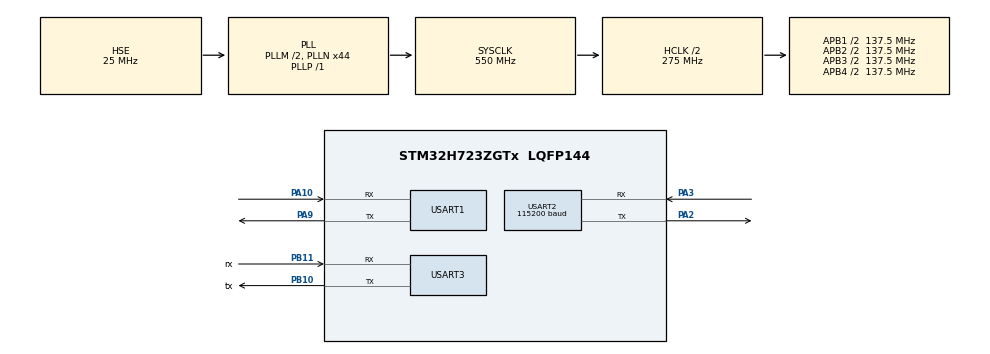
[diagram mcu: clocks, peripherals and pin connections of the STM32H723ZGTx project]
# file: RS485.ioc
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CORTEX_M7.default_mode_Activation=1
Mcu.Family=STM32H7
Mcu.Name=STM32H723ZGTx
Mcu.Package=LQFP144
NVIC.PriorityGroup=NVIC_PRIORITYGROUP_4
NVIC.TIM3_IRQn=true\:0\:0\:false\:false\:true\:true\:true\:true
NVIC.USART1_IRQn=true\:0\:0\:false\:false\:true\:true\:true\:true
NVIC.USART2_IRQn=true\:0\:0\:false\:false\:true\:true\:true\:true
NVIC.USART3_IRQn=true\:0\:0\:false\:false\:true\:true\:true\:true
PA10.GPIO_PuPd=GPIO_PULLUP
PA10.Mode=Asynchronous
PA10.Signal=USART1_RX
PA2.GPIO_Speed=GPIO_SPEED_FREQ_VERY_HIGH
PA2.Mode=Asynchronous
PA2.Signal=USART2_TX
PA3.GPIO_PuPd=GPIO_PULLUP
PA3.GPIO_Speed=GPIO_SPEED_FREQ_VERY_HIGH
PA3.Mode=Asynchronous
PA3.Signal=USART2_RX
PA9.GPIO_Speed=GPIO_SPEED_FREQ_LOW
PA9.Mode=Asynchronous
PA9.Signal=USART1_TX
PB10.GPIO_Label=tx
PB10.GPIO_Speed=GPIO_SPEED_FREQ_HIGH
PB10.Mode=Asynchronous
PB10.Signal=USART3_TX
PB11.GPIO_Label=rx
PB11.GPIO_PuPd=GPIO_PULLUP
PB11.GPIO_Speed=GPIO_SPEED_FREQ_HIGH
PB11.Mode=Asynchronous
PB11.Signal=USART3_RX
PH0-OSC_IN.Mode=HSE-External-Oscillator
PH0-OSC_IN.Signal=RCC_OSC_IN
PH1-OSC_OUT.Mode=HSE-External-Oscillator
PH1-OSC_OUT.Signal=RCC_OSC_OUT
ProjectManager.HeapSize=0x200
ProjectManager.StackSize=0x400
ProjectManager.TargetToolchain=MDK-ARM V5.32
RCC.ADCFreq_Value=50390625
RCC.APB1Freq_Value=137500000
RCC.APB2Freq_Value=137500000
RCC.APB3Freq_Value=137500000
RCC.APB4Freq_Value=137500000
RCC.CortexFreq_Value=550000000
RCC.D1PPRE=RCC_APB3_DIV2
RCC.D2PPRE1=RCC_APB1_DIV2
RCC.D2PPRE2=RCC_APB2_DIV2
RCC.D3PPRE=RCC_APB4_DIV2
RCC.DIVM1=2
RCC.DIVN1=44
RCC.DIVP1=1
RCC.HCLKFreq_Value=275000000
RCC.HPRE=RCC_HCLK_DIV2
RCC.PLLFRACN=0
RCC.PLLSourceVirtual=RCC_PLLSOURCE_HSE
RCC.SYSCLKFreq_VALUE=550000000
RCC.SYSCLKSource=RCC_SYSCLKSOURCE_PLLCLK
RCC.USBFreq_Value=275000000
TIM3.Period=1000-1
TIM3.Prescaler=275-1
USART1.VirtualMode-Asynchronous=VM_ASYNC
USART2.BaudRate=115200
USART2.VirtualMode-Asynchronous=VM_ASYNC
USART3.VirtualMode-Asynchronous=VM_ASYNC
VP_MEMORYMAP_VS_MEMORYMAP.Mode=CurAppReg
VP_TIM3_VS_ClockSourceINT.Mode=Internal
board=custom

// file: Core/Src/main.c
/* USER CODE BEGIN Header */
/**
  ******************************************************************************
  * @file           : main.c
  * @brief          : Main program body
  ******************************************************************************
  * @attention
  *
  * Copyright (c) 2025 STMicroelectronics.
  * All rights reserved.
  *
  * This software is licensed under terms that can be found in the LICENSE file
  * in the root directory of this software component.
  * If no LICENSE file comes with this software, it is provided AS-IS.
  *
  ******************************************************************************
  */
/* USER CODE END Header */
#include "main.h"

/* USER CODE BEGIN Includes */
#include "wit_c_sdk.h"
#include "usart6.h"
/* USER CODE END Includes */

/* USER CODE BEGIN PTD */
#define ID  0x01
#define POSITION_REG 0x80
#define TORQUE_REG 0x81
#define PACKET_SIZE 20

#define ACC_UPDATE		0x01
#define GYRO_UPDATE		0x02
#define ANGLE_UPDATE	0x04
#define MAG_UPDATE		0x08
#define READ_UPDATE		0x80
/*typedef struct {
    short x;
    short y;
    short z;
} GyroData;

GyroData gyro_data;
uint8_t mpu_data_ready = 0;
uint32_t mpu_last_update = 0;
char uart_buf[64];  // 用于存储格式化后的字符串*/

/* USER CODE END PTD */

/* USER CODE BEGIN PD */

#define MODBUS_READ_REG 0x03
#define MODBUS_WRITE_SINGLE_REG 0x06
#define MODBUS_WRITE_MULTI_REG 0x10
#define MAX_ANGLE 360.0f
#define RESOLUTION 4096
volatile uint32_t sys_tick = 0;
uint8_t flag_10ms = 0;
uint8_t flag_100ms = 0;
uint16_t flag_1000ms = 0;
uint32_t last_tick = 0;
uint16_t target_angle = 0;
uint16_t current_angle = 0;

uint8_t usart_read_byte;

uint8_t usart1_tx_byte;
uint8_t usart1_tx_busy = 0;

#pragma pack(push, 1)
typedef struct {
    uint8_t header;     // 包头 0xAA
    float pitch;        // 俯仰�?
    float roll;         // 横滚�?
    float yaw;          // 偏航�?
    int16_t gx;         // �?螺仪X�?
    int16_t gy;         // �?螺仪Y�?
    int16_t gz;         // �?螺仪Z�?
    uint8_t footer;     // 包尾 0x55
} IMU_DataPacket;
#pragma pack(pop)

static volatile char s_cDataUpdate = 0, s_cCmd = 0xff;
const uint32_t c_uiBaud[10] = {0, 4800, 9600, 19200, 38400, 57600, 115200, 230400, 460800, 921600};
uint8_t rxBuffer[PACKET_SIZE];
uint8_t rxIndex = 0;
uint8_t packetReady = 0;
IMU_DataPacket received_data;

#define PRINT_BUFFER_SIZE 128
char print_buffer[PRINT_BUFFER_SIZE];
uint8_t print_ready = 0;
/* USER CODE END PD */

TIM_HandleTypeDef htim3;

UART_HandleTypeDef huart1;
UART_HandleTypeDef huart2;
UART_HandleTypeDef huart3;

/* USER CODE BEGIN PV */
/* USER CODE BEGIN PV */

typedef enum {
    STATE_IDLE,
    STATE_SEND_CMD1,
    STATE_WAIT_CMD1,
    STATE_SEND_CMD2,
    STATE_WAIT_CMD2,
	STATE_SEND_CMD3,
	STATE_WAIT_CMD3,
	STATE_SEND_CMD4,
	STATE_WAIT_CMD4

} ServoControlState;

ServoControlState servo_state = STATE_SEND_CMD1;
uint32_t state_timer = 0;
/* USER CODE END PV */

void SystemClock_Config(void);
static void MPU_Config(void);
static void MX_GPIO_Init(void);
static void MX_USART2_UART_Init(void);
static void MX_TIM3_Init(void);
static void MX_USART1_UART_Init(void);
static void MX_USART3_UART_Init(void);
/* USER CODE BEGIN PFP */
uint16_t Modbus_CRC16(uint8_t *data,uint16_t length);
void Set_Servo_Angle(UART_HandleTypeDef *huart, uint8_t servo_id, uint16_t angle_deg);
void Set_Servo_Speed(UART_HandleTypeDef *huart,uint8_t servo_id, int16_t speed_deg);
/* USER CODE END PFP */

/* USER CODE BEGIN 0 */

static void CmdProcess(void);
void CopeCmdData(unsigned char ucData);

static void ShowHelp(void);

static void AutoScanSensor(void);

static void SensorUartSend(uint8_t *p_data, uint32_t uiSize);
static void Delayms(uint16_t ucMs);

static void SensorDataUpdata(uint32_t uiReg, uint32_t uiRegNum);
void USART6_IRQHandler(void);

void Uart6Send(unsigned char *p_data, unsigned int uiSize);
void HAL_UART_TxCpltCallback(UART_HandleTypeDef *huart);
void HAL_UART_RxCpltCallback(UART_HandleTypeDef *huart);
uint16_t Modbus_CRC16(uint8_t *data,uint16_t length);
void Enable_Servo_Torque(UART_HandleTypeDef *huart, uint8_t servo_id, uint16_t enable);
void Set_Servo_Angle(UART_HandleTypeDef *huart, uint8_t servo_id, uint16_t angle_deg);
void Set_Servo_Speed(UART_HandleTypeDef *huart,uint8_t servo_id, int16_t speed_deg);
void Update_Servo_State(uint16_t x1,uint16_t x2,uint16_t x3,uint16_t x4);
void MoveToAngle   (uint16_t x1,uint16_t x2,uint16_t x3,uint16_t x4);
void HAL_TIM_PeriodElapsedCallback(TIM_HandleTypeDef *htim){
	if(htim->Instance == TIM3){
		static uint8_t counter_10ms = 0;
		static uint8_t counter_100ms = 0;
		static uint16_t counter_1000ms = 0;
		sys_tick++;
		if(++counter_10ms >= 10){
		flag_10ms = 1;
		counter_10ms = 0;
		}
		if(++counter_100ms >= 100){
		flag_100ms = 1;
		counter_100ms = 0;
		}
		if(++counter_1000ms >= 1000){
		flag_1000ms = 1;
		counter_1000ms = 0;
		}
	}
}

#ifdef __GNUC__
#define PUTCHAR_PROTOTYPE int __io_putchar(int ch)
#else
#define PUTCHAR_PROTOTYPE int fputc(int ch, FILE *f)
#endif

PUTCHAR_PROTOTYPE
{
    HAL_UART_Transmit(&huart1, (uint8_t *)&ch, 1, HAL_MAX_DELAY);
    return ch;
}

int _write(int file, char *ptr, int len)
{
    HAL_UART_Transmit(&huart1, (uint8_t *)ptr, len, HAL_MAX_DELAY);
    return len;
}
/* USER CODE END 0 */

int main(void)
{

  /* USER CODE BEGIN 1 */
    /*short gx, gy, gz;
	uint32_t last_mpu_read = HAL_GetTick();
    uint32_t last_mpu_print = HAL_GetTick();
	char uart_buf[64];*/
	float fAcc[3], fGyro[3], fAngle[3];
	int i;
	Usart6Init(9600);
  /* USER CODE END 1 */

  /* MPU Configuration--------------------------------------------------------*/
  MPU_Config();

  /* MCU Configuration--------------------------------------------------------*/

  /* Reset of all peripherals, Initializes the Flash interface and the Systick. */
  HAL_Init();

  /* Configure the system clock */
  SystemClock_Config();

  /* Initialize all configured peripherals */
  MX_GPIO_Init();
  MX_USART2_UART_Init();
  MX_TIM3_Init();
  MX_USART1_UART_Init();
  MX_USART3_UART_Init();
  /* USER CODE BEGIN 2 */
  HAL_TIM_Base_Start_IT(&htim3);
  HAL_UART_Receive_IT(&huart3, &rxBuffer[0], 1);

  Enable_Servo_Torque(&huart2, 0x03, 1);
  //HAL_Delay(100);
    //current_angle = 90;
    //target_angle = 270;
  WitInit(WIT_PROTOCOL_NORMAL, 0x50);
  WitSerialWriteRegister(SensorUartSend);
  WitRegisterCallBack(SensorDataUpdata);
  WitDelayMsRegister(Delayms);
  AutoScanSensor();
	//servo_state = STATE_SEND_CMD1;
  /* USER CODE END 2 */

  /* Infinite loop */
  while (1)
  {

    /* USER CODE BEGIN 3 */
	  //CmdProcess();
	CmdProcess();
	for(i = 0; i < 3; i++)
			   {
			    	fAcc[i] = sReg[AX+i] / 32768.0f * 16.0f;
				    fGyro[i] = sReg[GX+i] / 32768.0f * 2000.0f;
			   	  fAngle[i] = sReg[Roll+i] / 32768.0f * 180.0f;
			   }
			  /* if(s_cDataUpdate & ACC_UPDATE)
			   {
				    printf("acc:%.3f %.3f %.3f\r\n", fAcc[0], fAcc[1], fAcc[2]);
				    s_cDataUpdate &= ~ACC_UPDATE;
			   }
			   if(s_cDataUpdate & GYRO_UPDATE)
			   {
			   	printf("gyro:%.3f %.3f %.3f\r\n", fGyro[0], fGyro[1], fGyro[2]);
			   	s_cDataUpdate &= ~GYRO_UPDATE;
			   }*/
			   if(s_cDataUpdate & ANGLE_UPDATE)
			   {
			   	printf("angle:%.3f %.3f %.3f\r\n", fAngle[0], fAngle[1], fAngle[2]);
			   	s_cDataUpdate &= ~ANGLE_UPDATE;
			   }
			  /* if(s_cDataUpdate & MAG_UPDATE)
			   {
			   	printf("mag:%d %d %d\r\n", sReg[HX], sReg[HY], sReg[HZ]);
			   	s_cDataUpdate &= ~MAG_UPDATE;
			   }*/

	  //Set_Servo_Angle(&huart2,0x02,90);

	 /* if (flag_10ms) {
            flag_10ms = 0;

            if (current_angle != target_angle) {
                if (current_angle < target_angle) {
                    current_angle++;
                } else {
                    current_angle--;
                }

                Set_Servo_Angle(&huart2, 0x02, current_angle);
            }
        }*/

	  //Set_Servo_Angle(&huart2, 0x03, 90);
	  //HAL_Delay(100);
      /*if (packetReady) {
        packetReady = 0;

        // 提取并处理传感器数据
        float pitch = received_data.pitch;
        float roll = received_data.roll;
        float yaw = received_data.yaw;
        int16_t gx = received_data.gx;
        int16_t gy = received_data.gy;
        int16_t gz = received_data.gz;
        int len = snprintf(print_buffer,PRINT_BUFFER_SIZE, "P:%.2f\r\n" , pitch);

	    if(!usart1_tx_busy){
			usart1_tx_busy = 1;
			HAL_UART_Transmit_IT(&huart1, (uint8_t*)print_buffer, len);

		uint16_t pitch_putout = (uint16_t)((pitch*2)+180);
	    if(flag_1000ms){
		  Set_Servo_Angle(&huart2, 0x03, pitch_putout);

		HAL_Delay(1000);
		}
	  }

		int len = snprintf(print_buffer,PRINT_BUFFER_SIZE, "P:%.2f  R:%.2f Y:%.2f\r\nGX:%d GY:%d GZ:%d\r\n\r\n",
			  received_data.pitch,
		      received_data.roll,
		      received_data.yaw,
		      received_data.gx,
		      received_data.gy,
		      received_data.gz);

		print_ready = 1;}
	    if(print_ready && !usart1_tx_busy){
			usart1_tx_busy = 1;
			HAL_UART_Transmit_IT(&huart1, (uint8_t*)print_buffer, strlen(print_buffer));
		}*char msg[64];
		  int len = sprintf(msg, "P:%.2f  R:%.2f Y:%.2f GX:%d GY:%d GZ:%d\r\n",
			  pitch,
		      roll,
		      yaw,
		      gx,
		      gy,
		      gz);
        HAL_UART_Transmit(&huart1,(uint8_t*)msg,len,10);
	}*/
}
  /* USER CODE END 3 */
}

void SystemClock_Config(void)
{
  RCC_OscInitTypeDef RCC_OscInitStruct = {0};
  RCC_ClkInitTypeDef RCC_ClkInitStruct = {0};

  /** Supply configuration update enable
  */
  HAL_PWREx_ConfigSupply(PWR_LDO_SUPPLY);

  /** Configure the main internal regulator output voltage
  */
  __HAL_PWR_VOLTAGESCALING_CONFIG(PWR_REGULATOR_VOLTAGE_SCALE0);

  while(!__HAL_PWR_GET_FLAG(PWR_FLAG_VOSRDY)) {}

  /** Initializes the RCC Oscillators according to the specified parameters
  * in the RCC_OscInitTypeDef structure.
  */
  RCC_OscInitStruct.OscillatorType = RCC_OSCILLATORTYPE_HSE;
  RCC_OscInitStruct.HSEState = RCC_HSE_ON;
  RCC_OscInitStruct.PLL.PLLState = RCC_PLL_ON;
  RCC_OscInitStruct.PLL.PLLSource = RCC_PLLSOURCE_HSE;
  RCC_OscInitStruct.PLL.PLLM = 2;
  RCC_OscInitStruct.PLL.PLLN = 44;
  RCC_OscInitStruct.PLL.PLLP = 1;
  RCC_OscInitStruct.PLL.PLLQ = 2;
  RCC_OscInitStruct.PLL.PLLR = 2;
  RCC_OscInitStruct.PLL.PLLRGE = RCC_PLL1VCIRANGE_3;
  RCC_OscInitStruct.PLL.PLLVCOSEL = RCC_PLL1VCOWIDE;
  RCC_OscInitStruct.PLL.PLLFRACN = 0;
  if (HAL_RCC_OscConfig(&RCC_OscInitStruct) != HAL_OK)
  {
    Error_Handler();
  }

  /** Initializes the CPU, AHB and APB buses clocks
  */
  RCC_ClkInitStruct.ClockType = RCC_CLOCKTYPE_HCLK|RCC_CLOCKTYPE_SYSCLK
                              |RCC_CLOCKTYPE_PCLK1|RCC_CLOCKTYPE_PCLK2
                              |RCC_CLOCKTYPE_D3PCLK1|RCC_CLOCKTYPE_D1PCLK1;
  RCC_ClkInitStruct.SYSCLKSource = RCC_SYSCLKSOURCE_PLLCLK;
  RCC_ClkInitStruct.SYSCLKDivider = RCC_SYSCLK_DIV1;
  RCC_ClkInitStruct.AHBCLKDivider = RCC_HCLK_DIV2;
  RCC_ClkInitStruct.APB3CLKDivider = RCC_APB3_DIV2;
  RCC_ClkInitStruct.APB1CLKDivider = RCC_APB1_DIV2;
  RCC_ClkInitStruct.APB2CLKDivider = RCC_APB2_DIV2;
  RCC_ClkInitStruct.APB4CLKDivider = RCC_APB4_DIV2;

  if (HAL_RCC_ClockConfig(&RCC_ClkInitStruct, FLASH_LATENCY_3) != HAL_OK)
  {
    Error_Handler();
  }
}

static void MX_TIM3_Init(void)
{

  TIM_ClockConfigTypeDef sClockSourceConfig = {0};
  TIM_MasterConfigTypeDef sMasterConfig = {0};

  htim3.Instance = TIM3;
  htim3.Init.Prescaler = 275-1;
  htim3.Init.CounterMode = TIM_COUNTERMODE_UP;
  htim3.Init.Period = 1000-1;
  htim3.Init.ClockDivision = TIM_CLOCKDIVISION_DIV1;
  htim3.Init.AutoReloadPreload = TIM_AUTORELOAD_PRELOAD_DISABLE;
  if (HAL_TIM_Base_Init(&htim3) != HAL_OK)
  {
    Error_Handler();
  }
  sClockSourceConfig.ClockSource = TIM_CLOCKSOURCE_INTERNAL;
  if (HAL_TIM_ConfigClockSource(&htim3, &sClockSourceConfig) != HAL_OK)
  {
    Error_Handler();
  }
  sMasterConfig.MasterOutputTrigger = TIM_TRGO_RESET;
  sMasterConfig.MasterSlaveMode = TIM_MASTERSLAVEMODE_DISABLE;
  if (HAL_TIMEx_MasterConfigSynchronization(&htim3, &sMasterConfig) != HAL_OK)
  {
    Error_Handler();
  }

}

static void MX_USART1_UART_Init(void)
{

  huart1.Instance = USART1;
  huart1.Init.BaudRate = 115200;
  huart1.Init.WordLength = UART_WORDLENGTH_8B;
  huart1.Init.StopBits = UART_STOPBITS_1;
  huart1.Init.Parity = UART_PARITY_NONE;
  huart1.Init.Mode = UART_MODE_TX_RX;
  huart1.Init.HwFlowCtl = UART_HWCONTROL_NONE;
  huart1.Init.OverSampling = UART_OVERSAMPLING_16;
  huart1.Init.OneBitSampling = UART_ONE_BIT_SAMPLE_DISABLE;
  huart1.Init.ClockPrescaler = UART_PRESCALER_DIV1;
  huart1.AdvancedInit.AdvFeatureInit = UART_ADVFEATURE_NO_INIT;
  if (HAL_UART_Init(&huart1) != HAL_OK)
  {
    Error_Handler();
  }
  if (HAL_UARTEx_SetTxFifoThreshold(&huart1, UART_TXFIFO_THRESHOLD_1_8) != HAL_OK)
  {
    Error_Handler();
  }
  if (HAL_UARTEx_SetRxFifoThreshold(&huart1, UART_RXFIFO_THRESHOLD_1_8) != HAL_OK)
  {
    Error_Handler();
  }
  if (HAL_UARTEx_DisableFifoMode(&huart1) != HAL_OK)
  {
    Error_Handler();
  }

}

static void MX_USART2_UART_Init(void)
{

  huart2.Instance = USART2;
  huart2.Init.BaudRate = 115200;
  huart2.Init.WordLength = UART_WORDLENGTH_8B;
  huart2.Init.StopBits = UART_STOPBITS_1;
  huart2.Init.Parity = UART_PARITY_NONE;
  huart2.Init.Mode = UART_MODE_TX_RX;
  huart2.Init.HwFlowCtl = UART_HWCONTROL_NONE;
  huart2.Init.OverSampling = UART_OVERSAMPLING_16;
  huart2.Init.OneBitSampling = UART_ONE_BIT_SAMPLE_DISABLE;
  huart2.Init.ClockPrescaler = UART_PRESCALER_DIV1;
  huart2.AdvancedInit.AdvFeatureInit = UART_ADVFEATURE_NO_INIT;
  if (HAL_UART_Init(&huart2) != HAL_OK)
  {
    Error_Handler();
  }
  if (HAL_UARTEx_SetTxFifoThreshold(&huart2, UART_TXFIFO_THRESHOLD_1_8) != HAL_OK)
  {
    Error_Handler();
  }
  if (HAL_UARTEx_SetRxFifoThreshold(&huart2, UART_RXFIFO_THRESHOLD_1_8) != HAL_OK)
  {
    Error_Handler();
  }
  if (HAL_UARTEx_DisableFifoMode(&huart2) != HAL_OK)
  {
    Error_Handler();
  }

}

static void MX_USART3_UART_Init(void)
{

  huart3.Instance = USART3;
  huart3.Init.BaudRate = 115200;
  huart3.Init.WordLength = UART_WORDLENGTH_8B;
  huart3.Init.StopBits = UART_STOPBITS_1;
  huart3.Init.Parity = UART_PARITY_NONE;
  huart3.Init.Mode = UART_MODE_TX_RX;
  huart3.Init.HwFlowCtl = UART_HWCONTROL_NONE;
  huart3.Init.OverSampling = UART_OVERSAMPLING_16;
  huart3.Init.OneBitSampling = UART_ONE_BIT_SAMPLE_DISABLE;
  huart3.Init.ClockPrescaler = UART_PRESCALER_DIV1;
  huart3.AdvancedInit.AdvFeatureInit = UART_ADVFEATURE_NO_INIT;
  if (HAL_UART_Init(&huart3) != HAL_OK)
  {
    Error_Handler();
  }
  if (HAL_UARTEx_SetTxFifoThreshold(&huart3, UART_TXFIFO_THRESHOLD_1_8) != HAL_OK)
  {
    Error_Handler();
  }
  if (HAL_UARTEx_SetRxFifoThreshold(&huart3, UART_RXFIFO_THRESHOLD_1_8) != HAL_OK)
  {
    Error_Handler();
  }
  if (HAL_UARTEx_DisableFifoMode(&huart3) != HAL_OK)
  {
    Error_Handler();
  }

}

static void MX_GPIO_Init(void)
{

  /* GPIO Ports Clock Enable */
  __HAL_RCC_GPIOH_CLK_ENABLE();
  __HAL_RCC_GPIOA_CLK_ENABLE();
  __HAL_RCC_GPIOB_CLK_ENABLE();

}

/* USER CODE BEGIN 4 */

uint16_t Modbus_CRC16(uint8_t *data,uint16_t length){
	uint16_t crc = 0xFFFF;
	for(uint16_t i = 0; i< length; i++){
		crc ^= data[i];
		for(uint8_t j = 0; j<8; j++){
			if(crc & 0x0001){
				crc >>= 1;
				crc ^= 0xA001;
			}
		else{
			crc >>= 1;
		}
		}
	}
	return crc;
}
void Enable_Servo_Torque(UART_HandleTypeDef *huart, uint8_t servo_id, uint16_t enable){
	uint8_t cmd[8] = {
		ID,
		MODBUS_WRITE_SINGLE_REG,
		0x00,0x81,
		0x00,
		(uint8_t)(enable & 0xFF),
		0x00,0x00
	};
	uint16_t crc = Modbus_CRC16(cmd,6);
	cmd[6] = crc & 0xFF;
	cmd[7] = crc >> 8;

	HAL_UART_Transmit(huart, cmd, 8, 100);
}

void Set_Servo_Angle(UART_HandleTypeDef *huart, uint8_t servo_id, uint16_t angle_deg){

	uint16_t register_value = (angle_deg * RESOLUTION) / MAX_ANGLE;
	uint8_t cmd[8] = {
		servo_id,
		0x06,
		0x00, 0x80,
		register_value >> 8,
		register_value & 0xFF,
		0x00, 0x00

	};
	uint16_t crc = Modbus_CRC16(cmd,6);
	cmd[6] = crc & 0xFF;
	cmd[7] = crc >> 8;

	HAL_UART_Transmit(huart, cmd, 8, 1);
}
/*void Change_Angle(uint16_t angle_deg){
	Set_Servo_Angle(&huart2, 0x01, angle_deg);
	if(flag_10ms == 1){
	for(int angle = angle_deg;angle++; angle < 360){
		Set_Servo_Angle(&huart2, 0x01, angle);
		HAL_Delay(10);
		if(angle == 365){
		angle = 0;
		}
	}
}
}*/
void Set_Servo_Speed(UART_HandleTypeDef *huart,uint8_t servo_id, int16_t speed_deg){
	int16_t register_value = (speed_deg * 1000) / 360;

	uint8_t cmd[8] = {
		servo_id,
		0x06,
		0x00, 0x83,
		register_value >>8,
		register_value & 0xFF,
		0x00,0x00
	};
	uint16_t crc = Modbus_CRC16(cmd,6);
	cmd[6] = crc & 0xFF;
	cmd[7] = crc >> 8;

	HAL_UART_Transmit(huart, cmd , 8, 100);
}
void Set_Servo_Mode(UART_HandleTypeDef *huart, uint8_t servo_id, uint8_t mode){
	uint8_t lock_cmd[8] = {
		servo_id,
		MODBUS_WRITE_SINGLE_REG,
		0x00, 0x85,
		0x00, 0x00,
		0x00, 0x00
	};
	uint16_t crc = Modbus_CRC16(lock_cmd,6);
	lock_cmd[6] = crc & 0xFF;
	lock_cmd[7] = crc >> 8;

	HAL_UART_Transmit(huart, lock_cmd , 8, 100);
	HAL_Delay(20);

	uint8_t cmd[8] = {
		servo_id,
		MODBUS_WRITE_SINGLE_REG,
		0X00,0X10,
		0X00,mode,
		0x00,0x00
	};
    crc = Modbus_CRC16(cmd,6);
	cmd[6] = crc & 0xFF;
	cmd[7] = crc >> 8;

	HAL_UART_Transmit(huart, cmd , 8, 100);

}

void Update_Servo_State(uint16_t x1,uint16_t x2,uint16_t x3,uint16_t x4) {
    switch(servo_state) {
        case STATE_IDLE:

            break;

        case STATE_SEND_CMD1:
            // 发�?�第�?个舵机命�?
            Set_Servo_Angle(&huart2, 0x01, x1);
            state_timer = sys_tick;  // 记录发�?�时�?
            servo_state = STATE_WAIT_CMD1;  // 切换到等待状�?
            break;

        case STATE_WAIT_CMD1:

            if(sys_tick - state_timer >= 5) {
                servo_state = STATE_SEND_CMD2;  // 切换到发送第二个命令
            }
            break;

        case STATE_SEND_CMD2:
            // 发�?�第二个舵机命令
            Set_Servo_Angle(&huart2, 0x02, x2);
            state_timer = sys_tick;
            servo_state = STATE_WAIT_CMD2;
            break;

        case STATE_WAIT_CMD2:

            if(sys_tick - state_timer >= 5) {
                servo_state = STATE_SEND_CMD3;
            }
            break;

		case STATE_SEND_CMD3:
			//发�?�第三个舵机命令
		    Set_Servo_Angle(&huart2, 0x03, x3);
		    state_timer = sys_tick;
            servo_state = STATE_WAIT_CMD3;
            break;

        case STATE_WAIT_CMD3:

            if(sys_tick - state_timer >= 10) {
                servo_state = STATE_SEND_CMD4;
            }
            break;

        case STATE_SEND_CMD4:
			//发�?�第四个舵机命令
		    Set_Servo_Angle(&huart2, 0x04, x4);
		    state_timer = sys_tick;
            servo_state = STATE_WAIT_CMD4;
            break;

        case STATE_WAIT_CMD4:

            if(sys_tick - state_timer >= 5) {
                servo_state = STATE_SEND_CMD1;
            }
            break;

    }
}

void MoveToAngle(uint16_t x1,uint16_t x2,uint16_t x3,uint16_t x4){
	 Update_Servo_State(x1,x2,x3,x4);
}

void HAL_UART_RxCpltCallback(UART_HandleTypeDef *huart)
{
    if(huart->Instance == USART3)
    {
        uint8_t byte = rxBuffer[rxIndex];  // 获取接收到的字节

		/*if(!usart1_tx_busy){
			usart1_tx_byte = byte;
			usart1_tx_busy = 1;
			HAL_UART_Transmit_IT(&huart1, &usart1_tx_byte, 1);
		}*/
        // 状�?�机处理

        if(rxIndex == 0) {
            // �?查包�?
            if(byte != 0xAA) {
                rxIndex = 0;  // 包头错误，重置索�?
                HAL_UART_Receive_IT(&huart3, &rxBuffer[rxIndex], 1);
                return;
            }
        }
           if(rxIndex == PACKET_SIZE - 1) {
            // �?查包�?

            if(byte == 0x55) {
                // 完整接收�?包数�?
                for(int i = 0; i < PACKET_SIZE; i++) {
                    ((uint8_t*)&received_data)[i] = rxBuffer[i];

				}
                packetReady = 1;
            }
            rxIndex = 0;
        }
        else {
            rxIndex++;  // 继续接收数据
        }

        // 重新启动接收
        HAL_UART_Receive_IT(&huart3, &rxBuffer[rxIndex], 1);
    }
}

void HAL_UART_TxCpltCallback(UART_HandleTypeDef *huart){
	if(huart ->Instance == USART1){
		usart1_tx_busy = 0;
	}
}

//传感器部�?

static void ShowHelp(void)
{
	printf("\r\n************************	 WIT_SDK_DEMO	************************");
	printf("\r\n************************          HELP           ************************\r\n");
	printf("UART SEND:a\\r\\n   Acceleration calibration.\r\n");
	printf("UART SEND:m\\r\\n   Magnetic field calibration,After calibration send:   e\\r\\n   to indicate the end\r\n");
	printf("UART SEND:U\\r\\n   Bandwidth increase.\r\n");
	printf("UART SEND:u\\r\\n   Bandwidth reduction.\r\n");
	printf("UART SEND:B\\r\\n   Baud rate increased to 115200.\r\n");
	printf("UART SEND:b\\r\\n   Baud rate reduction to 9600.\r\n");
	printf("UART SEND:R\\r\\n   The return rate increases to 10Hz.\r\n");
	printf("UART SEND:r\\r\\n   The return rate reduction to 1Hz.\r\n");
	printf("UART SEND:C\\r\\n   Basic return content: acceleration, angular velocity, angle, magnetic field.\r\n");
	printf("UART SEND:c\\r\\n   Return content: acceleration.\r\n");
	printf("UART SEND:h\\r\\n   help.\r\n");
	printf("******************************************************************************\r\n");
}

static void CmdProcess(void)
{
	switch(s_cCmd)
	{
		case 'a':
			if(WitStartAccCali() != WIT_HAL_OK)
				printf("\r\nSet AccCali Error\r\n");
			break;
		case 'm':
			if(WitStartMagCali() != WIT_HAL_OK)
				printf("\r\nSet MagCali Error\r\n");
			break;
		case 'e':
			if(WitStopMagCali() != WIT_HAL_OK)
				printf("\r\nSet MagCali Error\r\n");
			break;
		case 'u':
			if(WitSetBandwidth(BANDWIDTH_5HZ) != WIT_HAL_OK)
				printf("\r\nSet Bandwidth Error\r\n");
			break;
		case 'U':
			if(WitSetBandwidth(BANDWIDTH_256HZ) != WIT_HAL_OK)
				printf("\r\nSet Bandwidth Error\r\n");
			break;
		case 'B':
			if(WitSetUartBaud(WIT_BAUD_115200) != WIT_HAL_OK)
				printf("\r\nSet Baud Error\r\n");
			else
				Usart6Init(c_uiBaud[WIT_BAUD_115200]);
			break;
		case 'b':
			if(WitSetUartBaud(WIT_BAUD_9600) != WIT_HAL_OK)
				printf("\r\nSet Baud Error\r\n");
			else
				Usart6Init(c_uiBaud[WIT_BAUD_9600]);
			break;
		case 'R':
			if(WitSetOutputRate(RRATE_10HZ) != WIT_HAL_OK)
				printf("\r\nSet Rate Error\r\n");
			break;
		case 'r':
			if(WitSetOutputRate(RRATE_1HZ) != WIT_HAL_OK)
				printf("\r\nSet Rate Error\r\n");
			break;
		case 'C':
			if(WitSetContent(RSW_ACC|RSW_GYRO|RSW_ANGLE|RSW_MAG) != WIT_HAL_OK)
				printf("\r\nSet RSW Error\r\n");
			break;
		case 'c':
			if(WitSetContent(RSW_ACC) != WIT_HAL_OK)
				printf("\r\nSet RSW Error\r\n");
			break;
		case 'h':
			ShowHelp();
			break;
	}
	s_cCmd = 0xff;
}

static void SensorUartSend(uint8_t *p_data, uint32_t uiSize)
{
	Uart6Send(p_data, uiSize);
}

static void Delayms(uint16_t ucMs)
{
	HAL_Delay(ucMs);
}

static void SensorDataUpdata(uint32_t uiReg, uint32_t uiRegNum)
{
	int i;
    for(i = 0; i < uiRegNum; i++)
    {
        switch(uiReg)
        {
//            case AX:
//            case AY:
            case AZ:
				s_cDataUpdate |= ACC_UPDATE;
            break;
//            case GX:
//            case GY:
            case GZ:
				s_cDataUpdate |= GYRO_UPDATE;
            break;
//            case HX:
//            case HY:
            case HZ:
				s_cDataUpdate |= MAG_UPDATE;
            break;
//            case Roll:
//            case Pitch:
            case Yaw:
				s_cDataUpdate |= ANGLE_UPDATE;
            break;
            default:
				s_cDataUpdate |= READ_UPDATE;
			break;
        }
		uiReg++;
    }
}

static void AutoScanSensor(void)
{
	int i, iRetry;

	for(i = 1; i < 10; i++)
	{
		Usart6Init(c_uiBaud[i]);
		iRetry = 2;
		do
		{
			s_cDataUpdate = 0;
			WitReadReg(AX, 3);
			HAL_Delay(100);
			if(s_cDataUpdate != 0)
			{
				printf("%d baud find sensor\r\n\r\n", c_uiBaud[i]);
				ShowHelp();
				return ;
			}
			iRetry--;
		}while(iRetry);
	}
	printf("can not find sensor\r\n");
	printf("please check your connection\r\n");
}

/* USER CODE END 4 */

 /* MPU Configuration */

void MPU_Config(void)
{
  MPU_Region_InitTypeDef MPU_InitStruct = {0};

  /* Disables the MPU */
  HAL_MPU_Disable();

  /** Initializes and configures the Region and the memory to be protected
  */
  MPU_InitStruct.Enable = MPU_REGION_ENABLE;
  MPU_InitStruct.Number = MPU_REGION_NUMBER0;
  MPU_InitStruct.BaseAddress = 0x0;
  MPU_InitStruct.Size = MPU_REGION_SIZE_4GB;
  MPU_InitStruct.SubRegionDisable = 0x87;
  MPU_InitStruct.TypeExtField = MPU_TEX_LEVEL0;
  MPU_InitStruct.AccessPermission = MPU_REGION_NO_ACCESS;
  MPU_InitStruct.DisableExec = MPU_INSTRUCTION_ACCESS_DISABLE;
  MPU_InitStruct.IsShareable = MPU_ACCESS_SHAREABLE;
  MPU_InitStruct.IsCacheable = MPU_ACCESS_NOT_CACHEABLE;
  MPU_InitStruct.IsBufferable = MPU_ACCESS_NOT_BUFFERABLE;

  HAL_MPU_ConfigRegion(&MPU_InitStruct);
  /* Enables the MPU */
  HAL_MPU_Enable(MPU_PRIVILEGED_DEFAULT);

}

void Error_Handler(void)
{
  __disable_irq();
  while (1)
  {
  }
}
